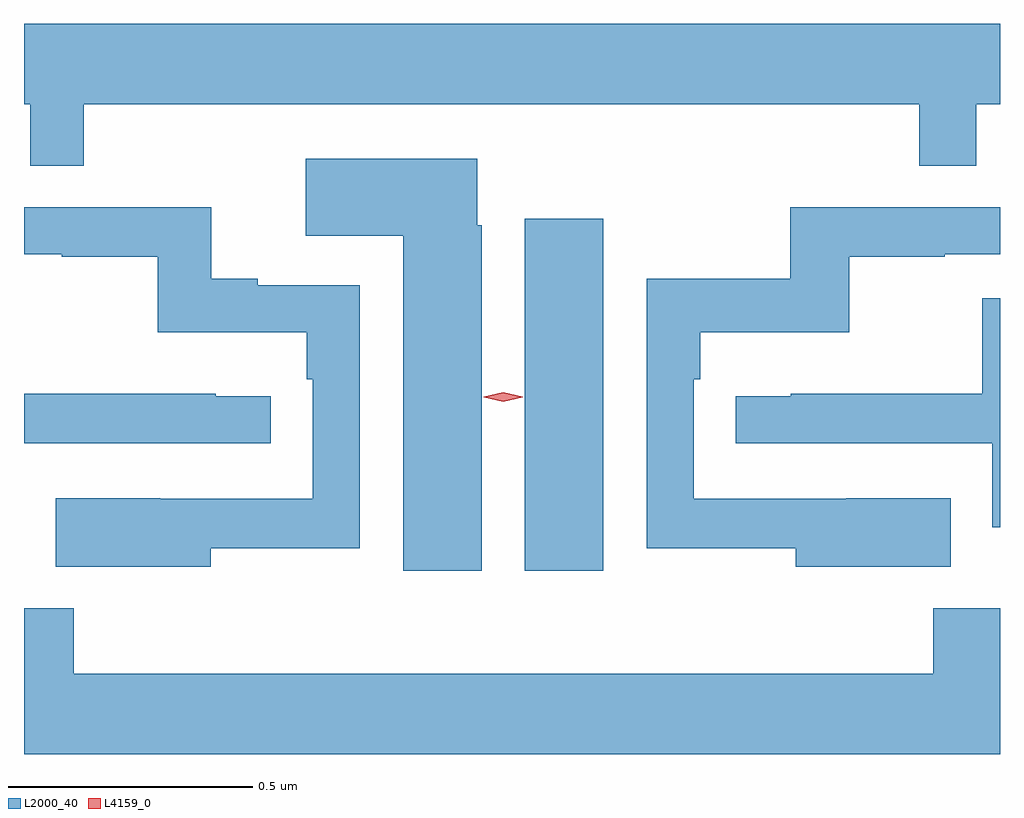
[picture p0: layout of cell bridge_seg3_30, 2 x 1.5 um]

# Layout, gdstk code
import gdstk
lib = gdstk.Library(unit=1e-6, precision=1e-09)
def R(c, l, rs):  # rectangles x0, y0, x1, y1
    for r in rs: c.add(gdstk.rectangle(r[:2], r[2:], *l))
def P(c, l, *ps):  # polygons
    for p in ps: c.add(gdstk.Polygon(p, *l))
L2000_40 = (2000, 40)
L4159_0 = (4159, 0)

bridge_seg3_30 = lib.new_cell('bridge_seg3_30')
R(bridge_seg3_30, L2000_40, [(863.546,705.288,863.707,706.009)])
P(bridge_seg3_30, L2000_40, [(862.642,706.244),(864.355,706.244),(864.355,706.117),(864.471,706.117),(864.471,706.244),(864.52,706.244),(864.52,706.408),(862.52,706.408),(862.52,706.244),(862.533,706.244),(862.533,706.117),(862.642,706.117)],
  [(863.458,705.996),(863.449,705.996),(863.449,706.132),(863.097,706.132),(863.097,705.974),(863.297,705.974),(863.297,705.288),(863.458,705.288)],
  [(862.903,705.334),(863.208,705.334),(863.208,705.873),(862.999,705.873),(862.999,705.886),(862.904,705.886),(862.904,706.032),(862.52,706.032),(862.52,705.936),(862.597,705.936),(862.597,705.931),(862.794,705.931),(862.794,705.776),(863.099,705.776),(863.099,705.68),(863.112,705.68),(863.112,705.435),(862.799,705.435),(862.799,705.436),(862.585,705.436),(862.585,705.296),(862.903,705.296)],
  [(864.419,705.436),(864.205,705.436),(864.205,705.435),(863.892,705.435),(863.892,705.68),(863.906,705.68),(863.906,705.776),(864.211,705.776),(864.211,705.931),(864.407,705.931),(864.407,705.936),(864.52,705.936),(864.52,706.032),(864.09,706.032),(864.09,705.886),(863.796,705.886),(863.796,705.334),(864.101,705.334),(864.101,705.296),(864.419,705.296)],
  [(864.52,705.846),(864.484,705.846),(864.484,705.65),(864.091,705.65),(864.091,705.645),(863.979,705.645),(863.979,705.549),(864.504,705.549),(864.504,705.377),(864.52,705.377)],
  [(863.026,705.645),(862.913,705.645),(862.913,705.65),(862.52,705.65),(862.52,705.549),(863.026,705.549)],
  [(864.52,705.211),(864.383,705.211),(864.383,705.076),(862.622,705.076),(862.622,705.211),(862.52,705.211),(862.52,704.912),(864.52,704.912)])
P(bridge_seg3_30, L4159_0, [(863.502,705.634),(863.462,705.643),(863.462,705.643),(863.462,705.644),(863.502,705.653),(863.542,705.644),(863.542,705.643),(863.542,705.643)])

lib.write_gds('bridge_seg3_30.gds')
